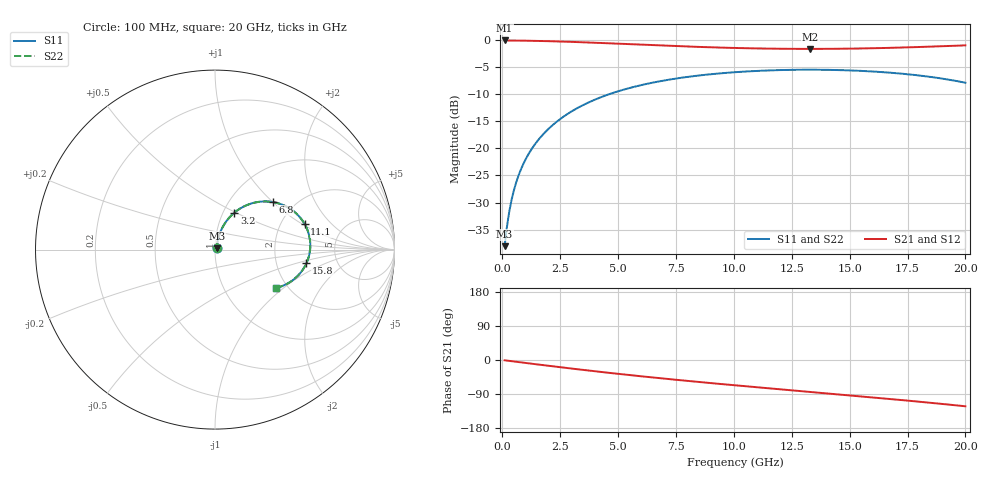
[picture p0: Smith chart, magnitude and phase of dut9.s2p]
! Touchstone file exported from HFSS 2026.1.0
!  File:  C:/ffzhzh/LocalFiles/Ansys_Project_Files/temp_test_TSV_RDL_9_1782979473_45568.aedt
!  Generated:  04:16:15 PM Jul  2, 2026
!  Design:  TSV_RDL
!  Project:  temp_test_TSV_RDL_9_1782979473_45568
! Variables:
!  h_bsmrdl = 4.06um
!  h_ox = 20um
!  h_rdl = 5um
!  h_sub = 98.48um
!  h_tmrdl = 4.61um
!  h_tsv = 98.48um
!  h_via = 3um
!  l_bsmrdl = 149.71um
!  l_sub = 1824.16um
!  l_tmrdl = 220.38um
!  m_sub = 200um
!  pitch = 53.82um
!  r_tsv = 9.25um
!  s_tmrdl = 10um
!  w_bsmrdl = 19.59um
!  w_sub = 500um
!  w_tmrdl = 11.58um
!  x_tsv_center1 = 226.17um
!  x_tsv_center2 = 395.47um
!  x_tsv_center3 = 627.43um
!  x_tsv_center4 = 796.73um
!  x_tsv_center5 = 1028.69um
!  x_tsv_center6 = 1197.99um
# GHz S MA R 50.000000
! Terminal data exported
! Port[1] = TM_RDL1_1_T1
! Port[2] = TM_RDL5_1_T1
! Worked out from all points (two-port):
!   200 points, 100 MHz to 20 GHz, reference 50 ohm
!   highest |S21| = -0.08 dB at 100 MHz (marker M1); lowest = -1.6 dB at 13.3 GHz (marker M2)
!   |S21| within 3 dB of the highest: start of sweep to end of sweep
!   lowest |S11| = -38.1 dB at 100 MHz (marker M3), VSWR 1.03, Z = 51 + j0.815 ohm
!   |S11| at or under -10 dB: start of sweep to 4.62 GHz
!   |S22| runs from -38.1 to -5.5 dB; largest |S21 - S12| = 2.4e-13
!   S11 on the Smith chart (normalised r, x): 100 MHz: 1.02, +0.02; 3.2 GHz: 1.13, +0.49; 6.8 GHz: 1.55, +1.00; 11.1 GHz: 2.70, +1.05; 15.8 GHz: 2.98, -0.62; 20 GHz: 1.75, -0.89
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0.1  0.0125 39.8  0.9905 -0.8  0.9905 -0.8  0.0125 39.8
! Gamma 0 0 0 0
! Port Impedance 50 0 50 0
0.2  0.01882 57.4  0.9902 -1.6  0.9902 -1.6  0.01882 57.4
0.3  0.02598 65.2  0.9898 -2.4  0.9898 -2.4  0.02598 65.2
0.4  0.03342 69.2  0.9893 -3.1  0.9893 -3.1  0.03342 69.2
0.5  0.04094 71.4  0.9888 -3.9  0.9888 -3.9  0.04094 71.4
0.7  0.05605 73.4  0.9877 -5.5  0.9877 -5.5  0.05605 73.4
1  0.0786 73.9  0.9856 -7.8  0.9856 -7.8  0.0786 73.9
1.4  0.1083 72.8  0.9821 -10.8  0.9821 -10.8  0.1083 72.8
1.9  0.1445 70.3  0.9767 -14.6  0.9767 -14.6  0.1445 70.3
2.5  0.1864 66.8  0.9687 -19.0  0.9687 -19.0  0.1864 66.8
3.2  0.2326 62.3  0.9578 -24.1  0.9578 -24.1  0.2326 62.3
3.5  0.2515 60.3  0.9527 -26.2  0.9527 -26.2  0.2515 60.3
5  0.3362 50.7  0.9248 -36.5  0.9248 -36.5  0.3362 50.7
6.8  0.416 39.6  0.8909 -48.0  0.8909 -48.0  0.416 39.6
10.1  0.5054 21.1  0.8437 -67.0  0.8437 -67.0  0.5054 21.1
11.1  0.5196 15.8  0.8352 -72.5  0.8352 -72.5  0.5196 15.8
13.3  0.5319 4.4  0.8276 -84.2  0.8276 -84.2  0.5319 4.4
13.4  0.5319 3.9  0.8276 -84.7  0.8276 -84.7  0.5319 3.9
15.8  0.5149 -8.5  0.8377 -97.6  0.8377 -97.6  0.5149 -8.5
16.7  0.5003 -13.3  0.8459 -102.6  0.8459 -102.6  0.5003 -13.3
18.4  0.4593 -22.7  0.8672 -112.4  0.8672 -112.4  0.4593 -22.7
20  0.4032 -32.0  0.8924 -122.1  0.8924 -122.1  0.4032 -32.0
